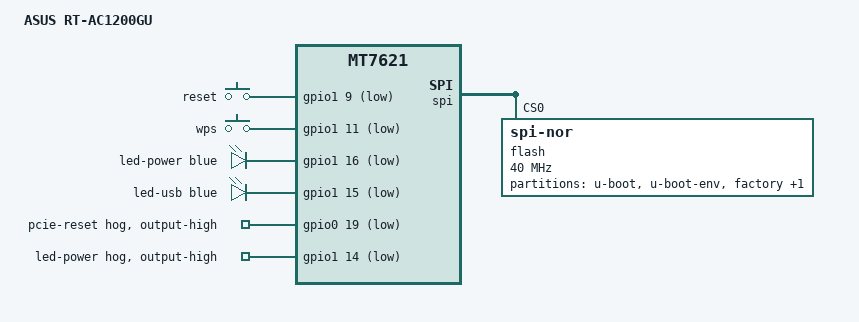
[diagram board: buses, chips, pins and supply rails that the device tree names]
// SPDX-License-Identifier: GPL-2.0-or-later

/dts-v1/;

#include "mt7621.dtsi"

#include <dt-bindings/gpio/gpio.h>
#include <dt-bindings/input/input.h>
#include <dt-bindings/leds/common.h>

/ {
	compatible = "asus,rt-ac1200gu", "mediatek,mt7621-soc";
	model = "ASUS RT-AC1200GU";

	/delete-node/ clock-48m;
	/delete-node/ clock-50m;
	/delete-node/ watchdog@1e000100;
	/delete-node/ serial@1e000d00;
	/delete-node/ serial@1e000e00;
	/delete-node/ mmc@1e130000;
	/delete-node/ usb@1e1c0000;
	/delete-node/ usb-phy@1e1d0000;

	aliases {
		serial0 = &uart0;
		spi0 = &spi;
	};

	chosen {
		stdout-path = "serial0:115200n8";
	};

	gpio-keys {
		compatible = "gpio-keys";

		button-reset {
			label = "reset";
			linux,code = <KEY_RESTART>;
			gpios = <&gpio1 9 GPIO_ACTIVE_LOW>;
		};

		button-wps {
			label = "wps";
			linux,code = <KEY_WPS_BUTTON>;
			gpios = <&gpio1 11 GPIO_ACTIVE_LOW>;
		};
	};

	gpio-leds {
		compatible = "gpio-leds";

		led-power {
			color = <LED_COLOR_ID_BLUE>;
			function = LED_FUNCTION_POWER;
			gpios = <&gpio1 16 GPIO_ACTIVE_LOW>;
			default-state = "on";
		};

		led-usb {
			color = <LED_COLOR_ID_BLUE>;
			function = LED_FUNCTION_USB;
			gpios = <&gpio1 15 GPIO_ACTIVE_LOW>;
			default-state = "off";
		};
	};

	options {
		u-boot {
			compatible = "u-boot,config";
			boot-btn1 = "reset";
			boot-btn2 = "wps";
			boot-led1 = "blue:power";
			bootcmd_1-1 = "tftp_boot_ik";
			bootcmd_1-2 = "tftp_update_fw";
			bootcmd_1-3 = "switch_console";
			bootcmd_1-4 = "env init";
			bootcmd_2-1 = "tftp_boot_ik";
			bootcmd_2-2 = "tftp_update_fw";
			bootcmd_2-3 = "switch_console";
			bootcmd_2-4 = "env init";
		};
	};
};

&gpio0 {
	pcie-reset {
		gpio-hog;
		gpios = <19 GPIO_ACTIVE_LOW>;
		output-high;
	};
};

&gpio1 {
	led-power {
		gpio-hog;
		gpios = <14 GPIO_ACTIVE_LOW>;
		output-high;
	};
};

&pinctrl {
	/delete-node/ uart2_pins;
	/delete-node/ uart3_pins;
	/delete-node/ sdxc_pins;
	/delete-node/ nand_pins;
};

&spi {
	status = "okay";

	flash@0 {
		compatible = "jedec,spi-nor";
		reg = <0>;
		spi-max-frequency = <40000000>;

		partitions {
			compatible = "fixed-partitions";
			#address-cells = <1>;
			#size-cells = <1>;

			partition@0 {
				label = "u-boot";
				reg = <0x00000 0x30000>;
			};

			partition@30000 {
				label = "u-boot-env";
				reg = <0x30000 0x10000>;
			};

			partition@40000 {
				label = "factory";
				reg = <0x40000 0x10000>;
			};

			partition@50000 {
				label = "firmware";
				reg = <0x50000 0x00000>;
			};
		};
	};
};

&state_default {
	/delete-node/ rgmii2-gpio_pins;
};
